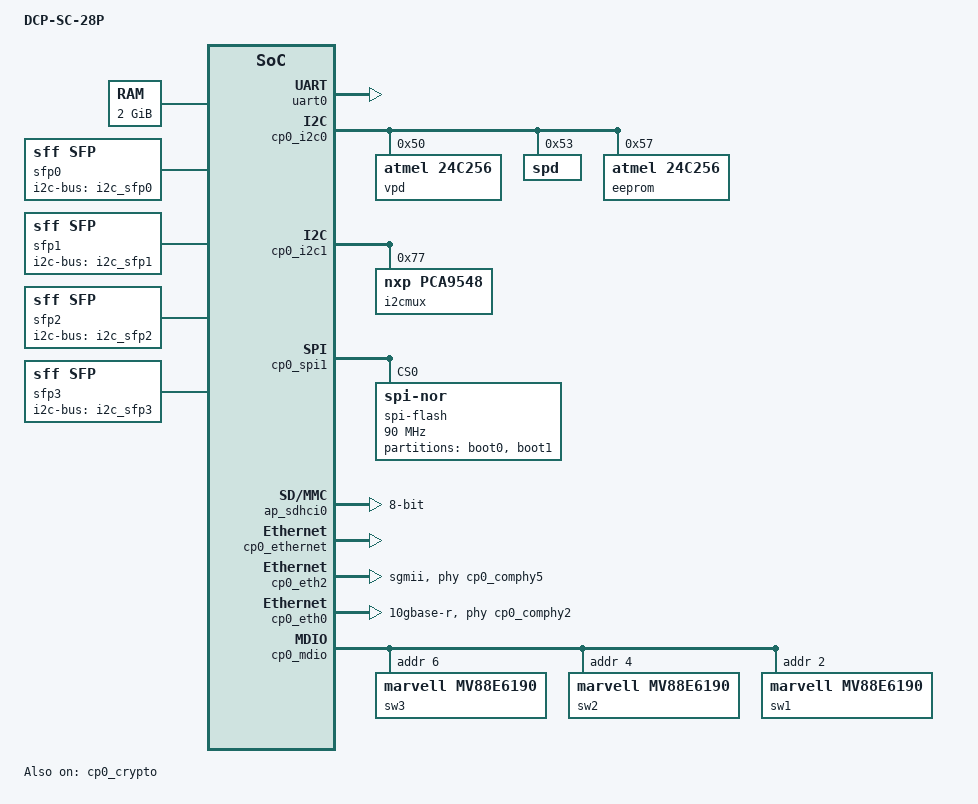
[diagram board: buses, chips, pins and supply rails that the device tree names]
// SPDX-License-Identifier: (GPL-2.0+ OR MIT)
/*
 * Copyright (C) 2021 Marvell International Ltd.
 * Copyright (C) 2023 Addiva Elektronik AB
 *
 * Device tree base for DCP-SC-28P
 */

#include <dt-bindings/input/input.h>
#include <dt-bindings/gpio/gpio.h>
#include <dt-bindings/leds/common.h>

#include "../marvell/cn9130-patched.dtsi"

#include "dcp-sc-28p-mpp.h"

/ {
	model = "DCP-SC-28P";

	chosen {
		stdout-path = "serial0:115200n8";

		infix {
			/* "admin" */
			factory-password-hash = "$5$mI/zpOAqZYKLC2WU$i7iPzZiIjOjrBF3NyftS9CCq8dfYwHwrmUK097Jca9A";
			vpds = <&vpd>;
		};
	};

	memory@0 {
		device_type = "memory";
		reg = <0x0 0x0 0x0 0x80000000>;
	};
};

/*
 * RTC has no valid bit, and this board does not connect any
 * backup power (e.g. supercap) to it, so it returns garbage
 * after every cold reset.
 */
&cp0_rtc {
	status = "disabled";
};

/* UART0 (Console) */

&uart0 {
	status = "okay";
};


/* UART1 (Auxiliary) */

&cp0_pinctrl {
	cp0_uart1_pins: cp0-uart1-pins {
		marvell,pins = CP_UA1_RXD(MPP_ID), CP_UA1_TXD(MPP_ID);
		marvell,function = "uart1";
	};
};

&cp0_uart1 {
	/* TODO: Figure out how to enable this without affecting
         * /chosen/stdout-path
	 */
	status = "disabled";
	pinctrl-names = "default";
	pinctrl-0 = <&cp0_uart1_pins>;
};


/* GPIO */

&cp0_gpio1 {
	status = "okay";
};

&cp0_gpio2 {
	status = "okay";
};


/* I2C0 (EEPROM) */

&cp0_pinctrl {
	cp0_i2c0_pins: cp0-i2c0-pins {
		marvell,pins = CP_I2C0_SCK(MPP_ID), CP_I2C0_SDA(MPP_ID);
		marvell,function = "i2c0";
	};
};

&cp0_i2c0 {
	status = "okay";
	pinctrl-names = "default";
	pinctrl-0 = <&cp0_i2c0_pins>;

	vpd: eeprom@50 {
		compatible = "atmel,24c256";
                reg = <0x50>;

		infix,board = "product";
		infix,trusted;

		nvmem-layout {
			compatible = "onie,tlv-layout";

			base_mac: mac-address {
				#nvmem-cell-cells = <1>;
			};
		};
	};

	spd: eeprom@53 {
		compatible = "spd";
                reg = <0x53>;
	};

	eeprom@57 {
		compatible = "atmel,24c256";
                reg = <0x57>;
	};
};


/* I2C1 (Mux) */

&cp0_pinctrl {
	cp0_i2c1_pins: cp0-i2c1-pins {
		marvell,pins = CP_I2C1_SCK(MPP_ID), CP_I2C1_SDA(MPP_ID);
		marvell,function = "i2c1";
	};
};

&cp0_i2c1 {
	status = "okay";
	pinctrl-names = "default";
	pinctrl-0 = <&cp0_i2c1_pins>;

	i2cmux@77 {
		compatible = "nxp,pca9548";
		#address-cells = <1>;
                #size-cells = <0>;
                reg = <0x77>;

		i2c_sfp0: i2c@0 {
			#address-cells = <1>;
			#size-cells = <0>;
			reg = <0>;
		};

		i2c_sfp1: i2c@1 {
			#address-cells = <1>;
			#size-cells = <0>;
			reg = <1>;
		};

		i2c_sfp2: i2c@2 {
			#address-cells = <1>;
			#size-cells = <0>;
			reg = <2>;
		};

		i2c_sfp3: i2c@3 {
			#address-cells = <1>;
			#size-cells = <0>;
			reg = <3>;
		};
	};
};


/* SPI1 (Boot FLASH) */

&cp0_pinctrl {
	cp0_spi1_pins: cp0-spi-pins-0 {
		marvell,pins = \
			CP_SPI1_MISO(MPP_ID), CP_SPI1_CS0(MPP_ID), \
			CP_SPI1_MOSI(MPP_ID), CP_SPI1_SCK(MPP_ID);
		marvell,function = "spi1";
	};
};

&cp0_spi1 {
	status = "okay";
	pinctrl-names = "default";
	pinctrl-0 = <&cp0_spi1_pins>;

	/* Boot flash */
	spi-flash@0 {
		#address-cells = <0x1>;
		#size-cells = <0x1>;
		compatible = "jedec,spi-nor", "spi-flash";
		reg = <0x0>;
		spi-max-frequency = <90000000>;

		partitions {
			compatible = "fixed-partitions";
			#address-cells = <1>;
			#size-cells = <1>;

			boot0@0 {
				label = "boot0";
				reg = <0x0 0x200000>;
			};

			boot1@200000 {
				label = "boot1";
				reg = <0x200000 0x200000>;
			};
		};
	};
};


/* AP SDHCI (eMMC) */

&ap_sdhci0 {
	status = "okay";
	bus-width = <8>;
	mmc-ddr-1_8v;
	mmc-hs400-1_8v;
};


&cp0_crypto {
	status = "okay";
};

&cp0_ethernet {
	status = "okay";
};


/* ETH1 (Connection to BMC) */

&cp0_eth2 {
	status = "okay";
	phy-mode = "sgmii";
	phys = <&cp0_comphy5 2>;
	managed = "in-band-status";

	nvmem-cells = <&base_mac 0>;
	nvmem-cell-names = "mac-address";
};


/* ETH0 (DSA connection to switch tree) */

&cp0_eth0 {
	status = "okay";
	phy-mode = "10gbase-r";
	phys = <&cp0_comphy2 0>;
	managed = "in-band-status";

	nvmem-cells = <&base_mac 0>;
	nvmem-cell-names = "mac-address";
};


/* MDIO (Switch Tree) */

&cp0_pinctrl {
	cp0_mdio_pins: cp0-mdio-pins-0 {
		marvell,pins = CP_SMI_MDIO(MPP_ID), CP_SMI_MDC(MPP_ID);
		marvell,function = "ge";
	};
};

#define SWP_LED \
	leds { \
		#address-cells = <1>; \
		#size-cells = <0>; \
		\
		led@0 { \
			reg = <0>; \
			function = "tp"; \
			color = <LED_COLOR_ID_GREEN>; \
			default-state = "keep"; \
		}; \
		led@1 { \
			reg = <1>; \
			function = "aux"; \
			color = <LED_COLOR_ID_GREEN>; \
			default-state = "off"; \
		}; \
	}

/* SFP LEDs
 * Rev A. LEDs do not work at all
 * Rev B. only outer-most (green) LEDs work
 */

#define SFP_LED \
	leds { \
		#address-cells = <1>; \
		#size-cells = <0>; \
		\
		led@0 { \
			reg = <0>; \
			function = "sfp"; \
			color = <LED_COLOR_ID_GREEN>; \
			default-state = "keep"; \
		}; \
	}

#define XSWP(_n, _label, _mac_offs, _sfp) \
	port@_n { \
		reg = <0x ## _n>; \
		label = _label; \
		nvmem-cells = <&base_mac _mac_offs>; \
		nvmem-cell-names = "mac-address"; \
		phy-mode = "10gbase-r"; \
		managed = "in-band-status"; \
		sfp = <_sfp>; \
		SFP_LED; \
	}

#define XSWCPU(_n, _eth) \
	port@_n { \
		reg = <0x ## _n>; \
		label = "cpu"; \
		ethernet = <_eth>; \
		phy-mode = "10gbase-r"; \
		fixed-link { \
			speed = <10000>; \
			full-duplex; \
		}; \
	}

#define XSWLINK(_n, _link) \
	port@_n { \
		reg = <0x ## _n>; \
		link = <_link>; \
		phy-mode = "10gbase-r"; \
		fixed-link { \
			speed = <10000>; \
			full-duplex; \
		}; \
	}

#define GSWP(_n, _label, _mac_offs, _phy) \
	port@_n { \
		reg = <0x ## _n>; \
		label = _label; \
		nvmem-cells = <&base_mac _mac_offs>; \
		nvmem-cell-names = "mac-address"; \
		phy-mode = "gmii"; \
		phy-handle = <_phy>; \
		SWP_LED; \
	}

#define GPHY(_n) \
	ethernet-phy@_n { \
		compatible = "ethernet-phy-ieee802.3-c22"; \
		reg = <_n>; \
		eee-broken-100tx; \
		eee-broken-1000t; \
	}

&cp0_mdio {
	status = "okay";
	pinctrl-names = "default";
	pinctrl-0 = <&cp0_mdio_pins>;

	sw3: switch@6 {
		compatible = "marvell,mv88e6190";
		#address-cells = <1>;
		#size-cells = <0>;
		reg = <6>;

		reset-gpios = SW3_RESETn(MPP_GPIO_REF);

		interrupts-extended = SW3_INTn(MPP_IRQ_REF);
		interrupt-controller;

		dsa,member = <0 0>;

		ports {
			#address-cells = <1>;
			#size-cells = <0>;

			GSWP(1,  "e22", 22, &sw3phy1);
			GSWP(2,  "e21", 21, &sw3phy2);
			GSWP(3,  "e24", 24, &sw3phy3);
			GSWP(4,  "e23", 23, &sw3phy4);
			GSWP(5,  "e26", 26, &sw3phy5);
			GSWP(6,  "e25", 25, &sw3phy6);
			GSWP(7,  "e28", 28, &sw3phy7);
			GSWP(8,  "e27", 27, &sw3phy8);
		};

		mdio {
			#address-cells = <1>;
			#size-cells = <0>;

			sw3phy1: GPHY(1);
			sw3phy2: GPHY(2);
			sw3phy3: GPHY(3);
			sw3phy4: GPHY(4);
			sw3phy5: GPHY(5);
			sw3phy6: GPHY(6);
			sw3phy7: GPHY(7);
			sw3phy8: GPHY(8);
		};
	};

	sw2: switch@4 {
		compatible = "marvell,mv88e6190";
		#address-cells = <1>;
		#size-cells = <0>;
		reg = <4>;

		reset-gpios = SW2_RESETn(MPP_GPIO_REF);

		interrupts-extended = SW2_INTn(MPP_IRQ_REF);
		interrupt-controller;

		dsa,member = <0 1>;

		ports {
			#address-cells = <1>;
			#size-cells = <0>;

			GSWP(1, "e10", 10, &sw2phy1);
			GSWP(2,  "e9",  9, &sw2phy2);
			GSWP(3, "e12", 12, &sw2phy3);
			GSWP(4, "e11", 11, &sw2phy4);
			GSWP(5, "e18", 18, &sw2phy5);
			GSWP(6, "e17", 17, &sw2phy6);
			GSWP(7, "e20", 20, &sw2phy7);
			GSWP(8, "e19", 19, &sw2phy8);
		};

		mdio {
			#address-cells = <1>;
			#size-cells = <0>;

			sw2phy1: GPHY(1);
			sw2phy2: GPHY(2);
			sw2phy3: GPHY(3);
			sw2phy4: GPHY(4);
			sw2phy5: GPHY(5);
			sw2phy6: GPHY(6);
			sw2phy7: GPHY(7);
			sw2phy8: GPHY(8);
		};
	};

	sw1: switch@2 {
		compatible = "marvell,mv88e6190";
		#address-cells = <1>;
		#size-cells = <0>;
		reg = <2>;

		reset-gpios = SW1_RESETn(MPP_GPIO_REF);

		interrupts-extended = SW1_INTn(MPP_IRQ_REF);
		interrupt-controller;

		dsa,member = <0 2>;

		ports {
			#address-cells = <1>;
			#size-cells = <0>;

			GSWP(1,  "e2",  2, &sw1phy1);
			GSWP(2,  "e1",  1, &sw1phy2);
			GSWP(3,  "e4",  4, &sw1phy3);
			GSWP(4,  "e3",  3, &sw1phy4);
			GSWP(5,  "e6",  6, &sw1phy5);
			GSWP(6,  "e5",  5, &sw1phy6);
			GSWP(7,  "e8",  8, &sw1phy7);
			GSWP(8,  "e7",  7, &sw1phy8);
		};

		mdio {
			#address-cells = <1>;
			#size-cells = <0>;

			sw1phy1: GPHY(1);
			sw1phy2: GPHY(2);
			sw1phy3: GPHY(3);
			sw1phy4: GPHY(4);
			sw1phy5: GPHY(5);
			sw1phy6: GPHY(6);
			sw1phy7: GPHY(7);
			sw1phy8: GPHY(8);
		};
	};
};

/ {
	sfp0: sfp@0 {
		compatible = "sff,sfp";
		i2c-bus = <&i2c_sfp0>;
		mod-def0-gpios = SFP0_MOD_ABS(MPP_GPIO_REF);
		los-gpios = SFP0_RX_LOS(MPP_GPIO_REF);
		tx-disable-gpios = SFP0_TX_DISABLE(MPP_GPIO_REF);
		tx-fault-gpios = SFP0_TX_FAULT(MPP_GPIO_REF);
		rate-select0-gpios = SFP0_RS0(MPP_GPIO_REF);
		rate-select1-gpios = SFP0_RS1(MPP_GPIO_REF);
		maximum-power-milliwatt = <3000>;
	};

	sfp1: sfp@1 {
		compatible = "sff,sfp";
		i2c-bus = <&i2c_sfp1>;
		mod-def0-gpios = SFP1_MOD_ABS(MPP_GPIO_REF);
		los-gpios = SFP1_RX_LOS(MPP_GPIO_REF);
		tx-disable-gpios = SFP1_TX_DISABLE(MPP_GPIO_REF);
		tx-fault-gpios = SFP1_TX_FAULT(MPP_GPIO_REF);
		rate-select0-gpios = SFP1_RS0(MPP_GPIO_REF);
		rate-select1-gpios = SFP1_RS1(MPP_GPIO_REF);
		maximum-power-milliwatt = <3000>;
	};

	sfp2: sfp@2 {
		compatible = "sff,sfp";
		i2c-bus = <&i2c_sfp2>;
		mod-def0-gpios = SFP2_MOD_ABS(MPP_GPIO_REF);
		los-gpios = SFP2_RX_LOS(MPP_GPIO_REF);
		tx-disable-gpios = SFP2_TX_DISABLE(MPP_GPIO_REF);
		tx-fault-gpios = SFP2_TX_FAULT(MPP_GPIO_REF);
		rate-select0-gpios = SFP2_RS0(MPP_GPIO_REF);
		rate-select1-gpios = SFP2_RS1(MPP_GPIO_REF);
		maximum-power-milliwatt = <3000>;
	};

	sfp3: sfp@3 {
		compatible = "sff,sfp";
		i2c-bus = <&i2c_sfp3>;
		mod-def0-gpios = SFP3_MOD_ABS(MPP_GPIO_REF);
		los-gpios = SFP3_RX_LOS(MPP_GPIO_REF);
		tx-disable-gpios = SFP3_TX_DISABLE(MPP_GPIO_REF);
		tx-fault-gpios = SFP3_TX_FAULT(MPP_GPIO_REF);
		rate-select0-gpios = SFP3_RS0(MPP_GPIO_REF);
		rate-select1-gpios = SFP3_RS1(MPP_GPIO_REF);
		maximum-power-milliwatt = <3000>;
	};
};

